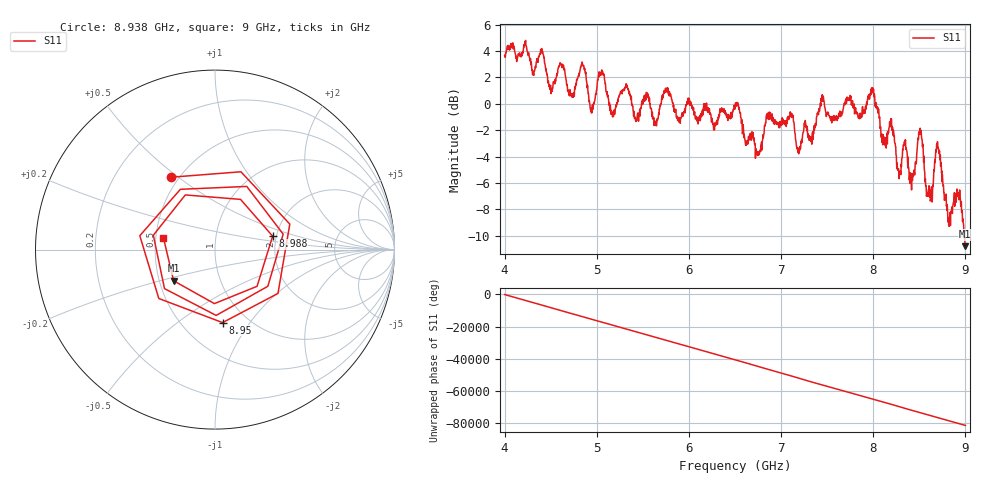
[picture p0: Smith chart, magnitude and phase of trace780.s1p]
! Created with skrf 1.8.0 (http://scikit-rf.org).
# Hz S RI R 50.0
!freq ReS11 ImS11
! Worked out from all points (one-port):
!   1601 points, 4 GHz to 9 GHz, reference 50 ohm
!   lowest |S11| = -10.8 dB at 8.997 GHz (marker M1), VSWR 1.81, Z = 29.7 - j11.2 ohm
!   |S11| at or under -10 dB: 8.983777 GHz to 8.984597 GHz (819.9 kHz wide, 0.00913 % of centre); 8.990156 GHz to end of sweep
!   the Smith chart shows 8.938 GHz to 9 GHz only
!   S11 on the Smith chart (normalised r, x): 8.938 GHz: 0.45, +0.47; 8.95 GHz: 0.77, -0.75; 8.988 GHz: 1.91, +0.32; 9 GHz: 0.55, +0.08
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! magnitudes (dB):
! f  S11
! 4 GHz  3.6
! 4.625 GHz  2.9
! 4.722 GHz  0.7
! 4.856 GHz  2.9
! 4.941 GHz  -0.5
! 5.044 GHz  2.2
! 5.159 GHz  -0.6
! 5.25 GHz  0.7
! 5.875 GHz  -0.9
! 6.5 GHz  -0.4
! 6.747 GHz  -3.9
! 6.862 GHz  -1.2
! 7.125 GHz  -1.0
! 7.191 GHz  -3.8
! 7.444 GHz  0.4
! 7.75 GHz  0.6
! 7.991 GHz  1.0
! 8.275 GHz  -4.9
! 8.375 GHz  -4.8
! 8.506 GHz  -2.3
! 8.6 GHz  -6.5
! 8.703 GHz  -3.3
! 8.819 GHz  -9.2
! 8.938 GHz  -6.5
! 8.95 GHz  -7.8
! 8.988 GHz  -9.6
! 8.997 GHz  -10.8
! 9 GHz  -10.6
